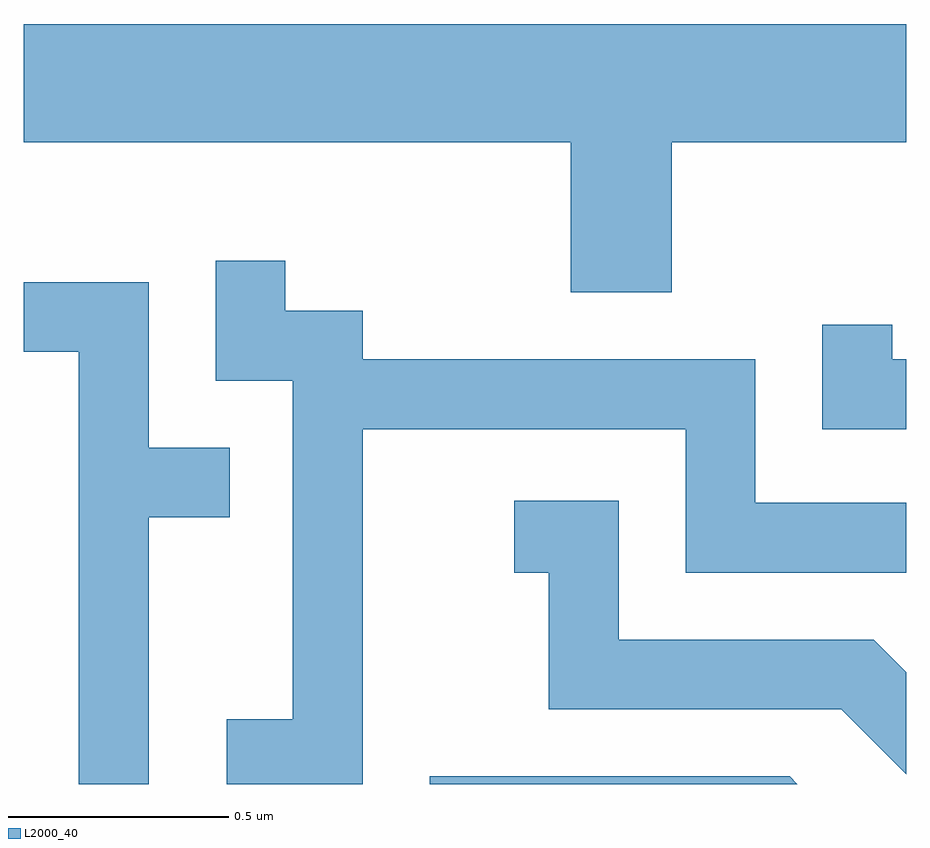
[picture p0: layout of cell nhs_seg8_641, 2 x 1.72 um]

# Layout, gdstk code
import gdstk
lib = gdstk.Library(unit=1e-6, precision=1e-09)
def P(c, l, *ps):  # polygons
    for p in ps: c.add(gdstk.Polygon(p, *l))
L2000_40 = (2000, 40)

nhs_seg8_641 = lib.new_cell('nhs_seg8_641')
P(nhs_seg8_641, L2000_40, [(191.079,1900.796),(191.611,1900.796),(191.611,1901.064),(189.611,1901.064),(189.611,1900.796),(190.851,1900.796),(190.851,1900.456),(191.079,1900.456)],
  [(190.379,1900.146),(191.111,1900.146),(191.111,1899.821),(191.611,1899.821),(191.611,1899.979),(191.269,1899.979),(191.269,1900.304),(190.379,1900.304),(190.379,1900.414),(190.204,1900.414),(190.204,1900.528),(190.046,1900.528),(190.046,1900.256),(190.221,1900.256),(190.221,1899.489),(190.071,1899.489),(190.071,1899.342),(190.379,1899.342)],
  [(189.894,1899.946),(190.078,1899.946),(190.078,1900.104),(189.894,1900.104),(189.894,1900.479),(189.611,1900.479),(189.611,1900.321),(189.736,1900.321),(189.736,1899.342),(189.894,1899.342)],
  [(191.611,1900.304),(191.579,1900.304),(191.579,1900.383),(191.421,1900.383),(191.421,1900.146),(191.611,1900.146)],
  [(191.611,1899.595),(191.537,1899.669),(190.959,1899.669),(190.959,1899.984),(190.723,1899.984),(190.723,1899.821),(190.801,1899.821),(190.801,1899.511),(191.464,1899.511),(191.611,1899.364)],
  [(191.347,1899.359),(190.531,1899.359),(190.531,1899.342),(191.364,1899.342)])

lib.write_gds('nhs_seg8_641.gds')
